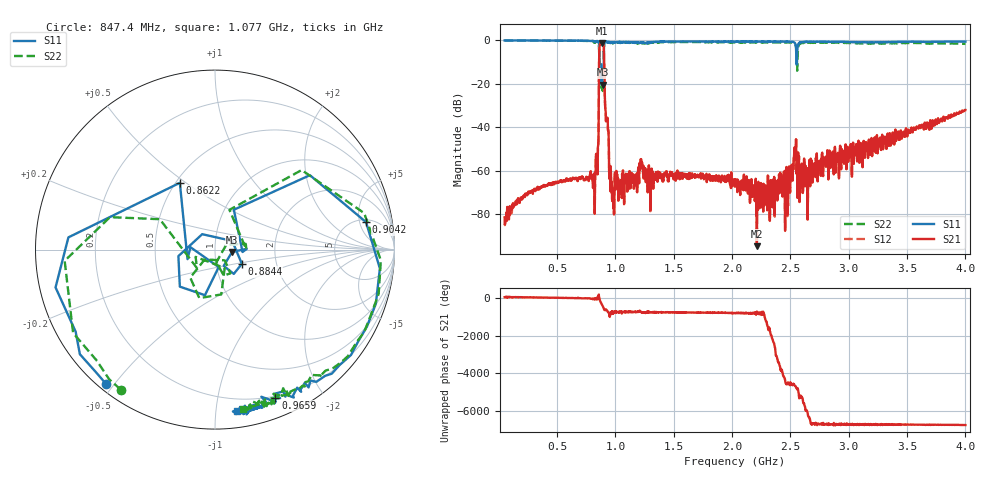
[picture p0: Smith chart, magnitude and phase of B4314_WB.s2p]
! Matrix data file written by TouchstoneData, EPCOS AG
! FILENAME: "LZ41A_WB.s2p_newformat"
! COMMENT: "(LZ41A_WB.s2p) EPCOS AG 19.07.2011 16:03:21"
! INFO: nport=2, nfreq=1601
! DATE: "Thu Jul 21 17:56:14 2011"
! USER: "Michael Schemies"
! port | pin | signal
!  1  |  1  |  in
!  2  |  4  |  out
# MHZ S MA R 50
! freq  magS11 angS11  magS21 angS21  magS12 angS12  magS22 angS22
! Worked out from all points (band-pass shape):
!   1601 points, 50 MHz to 4 GHz, reference 50 ohm
!   highest |S21| = -1.18 dB at 882 MHz (marker M1); lowest = -94.8 dB at 2.213 GHz (marker M2)
!   |S21| within 3 dB of the highest: 862.1 MHz to 900.2 MHz (38.17 MHz wide, 4.33 % of centre)
!   lowest |S11| = -20.3 dB at 891.8 MHz (marker M3), VSWR 1.21, Z = 60.5 - j1.53 ohm
!   |S11| at or under -10 dB: 863 MHz to 899.9 MHz (36.91 MHz wide, 4.19 % of centre); 2.552673 GHz to 2.555754 GHz (3.081 MHz wide, 0.121 % of centre)
!   |S22| runs from -23.3 to 0.0 dB; largest |S21 - S12| = 0.0022
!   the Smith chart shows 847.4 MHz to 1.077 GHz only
!   S11 on the Smith chart (normalised r, x): 847.4 MHz: 0.02, -0.48; 862.2 MHz: 0.52, +0.47; 884.4 MHz: 1.33, -0.22; 904.2 MHz: 5.53, +6.31; 965.9 MHz: 0.18, -1.47; 1.077 GHz: 0.11, -1.14
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50  0.9985 -5.6  8.458e-05 71.7  5.937e-05 74.0  0.999 -5.0
709.1562  0.9886 -76.6  0.0007306 14.5  0.00072 14.5  0.982 -71.1
827.6562  0.9097 -106.8  0.0009381 20.1  0.0009414 19.6  0.8959 -97.4
847.4062  0.9639 -128.9  0.000832 87.2  0.0008273 86.8  0.9403 -123.9
862.2188  0.4205 117.8  0.6518 26.1  0.652 26.1  0.3508 151.1
881.9688  0.1076 26.6  0.8731 62.5  0.8726 62.5  0.08124 -47.6
884.4375  0.1695 -28.0  0.8687 34.6  0.8687 34.5  0.1582 -56.9
891.8438  0.0961 -7.5  0.863 -49.4  0.8633 -49.3  0.06851 23.3
904.1875  0.8555 10.3  0.2188 117.4  0.2188 117.4  0.8557 13.8
965.9062  0.893 -67.8  0.00056 -111.1  0.0005582 -111.6  0.8768 -63.1
1077  0.9049 -82.4  0.0007519 30.3  0.000747 29.0  0.8996 -79.9
1225.125  0.9011 -92.9  0.001174 -19.8  0.001173 -19.5  0.8978 -88.3
1279.438  0.8866 -94.6  0.0008936 -1.2  0.0008883 -1.8  0.8745 -89.8
1368.312  0.9301 -98.8  0.0009407 -9.6  0.0009387 -9.4  0.9002 -95.8
2025  0.9382 -126.1  0.0006119 -67.0  0.0006265 -67.9  0.9032 -126.4
2212.625  0.929 -130.5  1.83e-05 18.0  2.399e-05 9.5  0.9077 -133.3
2466.906  0.922 -139.9  0.001217 78.2  0.001215 78.2  0.9036 -144.2
2538.5  0.8682 -155.8  0.002762 2.5  0.002753 2.3  0.8401 -159.7
2595.281  0.9022 -132.8  0.0008401 158.1  0.000847 158.1  0.8633 -135.5
2684.156  0.9352 -139.0  0.0006404 111.7  0.000635 111.9  0.8891 -144.2
3343.312  0.9193 -150.7  0.003751 86.9  0.003752 86.7  0.8463 -161.9
4000  0.9395 -159.7  0.02514 63.2  0.0251 68.2  0.8357 177.1
